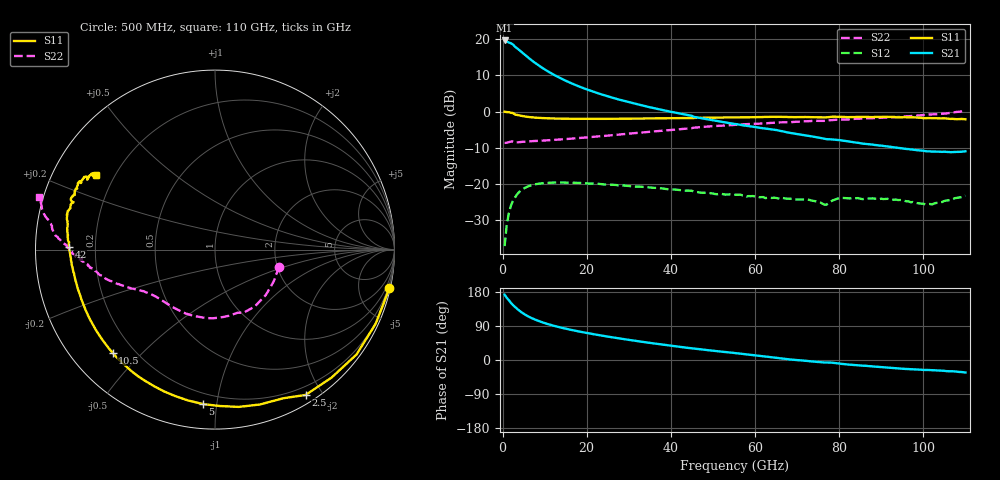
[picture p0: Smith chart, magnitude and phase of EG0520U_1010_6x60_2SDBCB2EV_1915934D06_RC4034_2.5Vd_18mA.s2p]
!File name = EG0520U_1010_6x60_2SDBCB2EV_1915934D06_RC4034_2.5Vd_18mA.s2p
!Base file name = EG0520U_1010_6x60_2SDBCB2EV_1915934D06_RC4034
!Date = 8/23/2019
!Time = 12:55 PM
!Test duration(min) = 0.15
!Test = S-Parameters
!MPTS version = 8.91.5
!State File = C:\Data\PNA\20190821205423\S-Parameters_2019-08-23.sta
!Cal File =
!ComputerName = CMPE-LAB-6
!Comments =
!Attenuation = 0
!Z0 = 50
!Input Power(dBm) = -13.00
!Device ID = EG0520U_1010_6x60_2SDBCB2EV
!Row = 40
!Column = 34
!Technology = QPHT09
!Lot/Wafer = 1915934D06
!Gate Size = 360
!Mask = EG0520
!Cal Standards = GaAs BCB
!Cal Kit = EG2306
!Job Number = 20190821205423
!Device Type = FET
!set_Vg(v) = -1.500
!set_Vd(v) = 2.500
!set_Vd(mA) = 18.000
!file_name = EG0520U_1010_6x60_2SDBCB2EV_1915934D06_RC4034_2.5Vd_18mA.s2p
!Vd(V) = 2.500
!Vd(mA) = 17.848
!Vg(V) = -0.613
!Vg(mA) = -0.003
# GHz  S  DB  R  50
!%	Freq(GHz)  s11(dB)  s11(deg)  s21(dB)  s21(deg)  s12(dB)  s12(deg)  s22(dB)  s22(deg)
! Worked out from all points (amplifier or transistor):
!   220 points, 500 MHz to 110 GHz, reference 50 ohm
!   highest |S21| = 19.6 dB at 500 MHz (marker M1)
!   |S21| within 3 dB of that: start of sweep to 4.319 GHz
!   unconditionally stable (mu >= 1): 41.29 GHz to 103.1 GHz
!   at 18.5 GHz: K = 0.45, MSG = 13.2 dB, |S12| = -19.7 dB
!   at 55.5 GHz: K = 1.29, MAG = 6.5 dB, |S12| = -22.9 dB
!   at 110 GHz: K = -1.21, MSG = 6.1 dB, |S12| = -23.2 dB
!   S11 on the Smith chart (normalised r, x): 500 MHz: 0.21, -9.12; 2.5 GHz: 0.10, -1.80; 5 GHz: 0.14, -0.92; 10.5 GHz: 0.12, -0.41; 42 GHz: 0.10, +0.01; 110 GHz: 0.13, +0.28
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0.5  -0.04 -12.5  19.62 172.2  -37.10 81.9  -8.64 -14.9
1  -0.12 -24.8  19.34 164.2  -31.27 75.1  -8.58 -28.6
2  -0.31 -47.7  18.84 150.7  -25.93 61.8  -8.26 -54.8
2.5  -0.41 -58.0  18.49 144.8  -24.49 56.4  -8.26 -65.5
3  -0.81 -65.3  17.87 139.7  -23.60 52.1  -8.55 -70.1
3.5  -0.93 -73.8  17.43 134.7  -22.76 47.7  -8.48 -78.3
4.5  -1.19 -88.3  16.43 126.0  -21.62 40.0  -8.34 -92.1
5  -1.28 -94.4  15.95 122.4  -21.22 36.8  -8.30 -97.7
6  -1.46 -105.3  14.99 115.7  -20.66 31.4  -8.24 -107.1
7.5  -1.63 -117.8  13.63 107.7  -20.14 24.9  -8.11 -117.6
9  -1.75 -127.2  12.40 101.3  -19.81 20.0  -8.04 -124.6
10.5  -1.83 -134.9  11.29 95.7  -19.66 15.8  -7.93 -130.2
14  -1.95 -147.6  9.08 85.2  -19.55 8.7  -7.66 -138.7
19  -2.00 -158.7  6.57 73.5  -19.69 1.8  -7.20 -145.5
27  -1.97 -169.4  3.54 58.3  -20.24 -5.2  -6.39 -151.8
37  -1.86 -177.8  0.70 42.1  -21.07 -10.2  -5.35 -157.5
42  -1.78 179.0  -0.50 34.9  -21.59 -12.4  -4.87 -160.3
55.5  -1.61 171.0  -3.44 18.0  -22.91 -15.2  -3.61 -167.9
73.5  -1.54 162.0  -6.84 -3.8  -24.53 -22.2  -2.54 -175.2
92  -1.48 153.4  -9.67 -20.5  -24.19 -30.9  -1.59 178.1
102  -1.82 150.3  -11.02 -26.9  -25.58 -29.8  -0.76 172.4
110  -2.12 148.1  -10.94 -33.0  -23.15 -29.0  0.19 163.3
